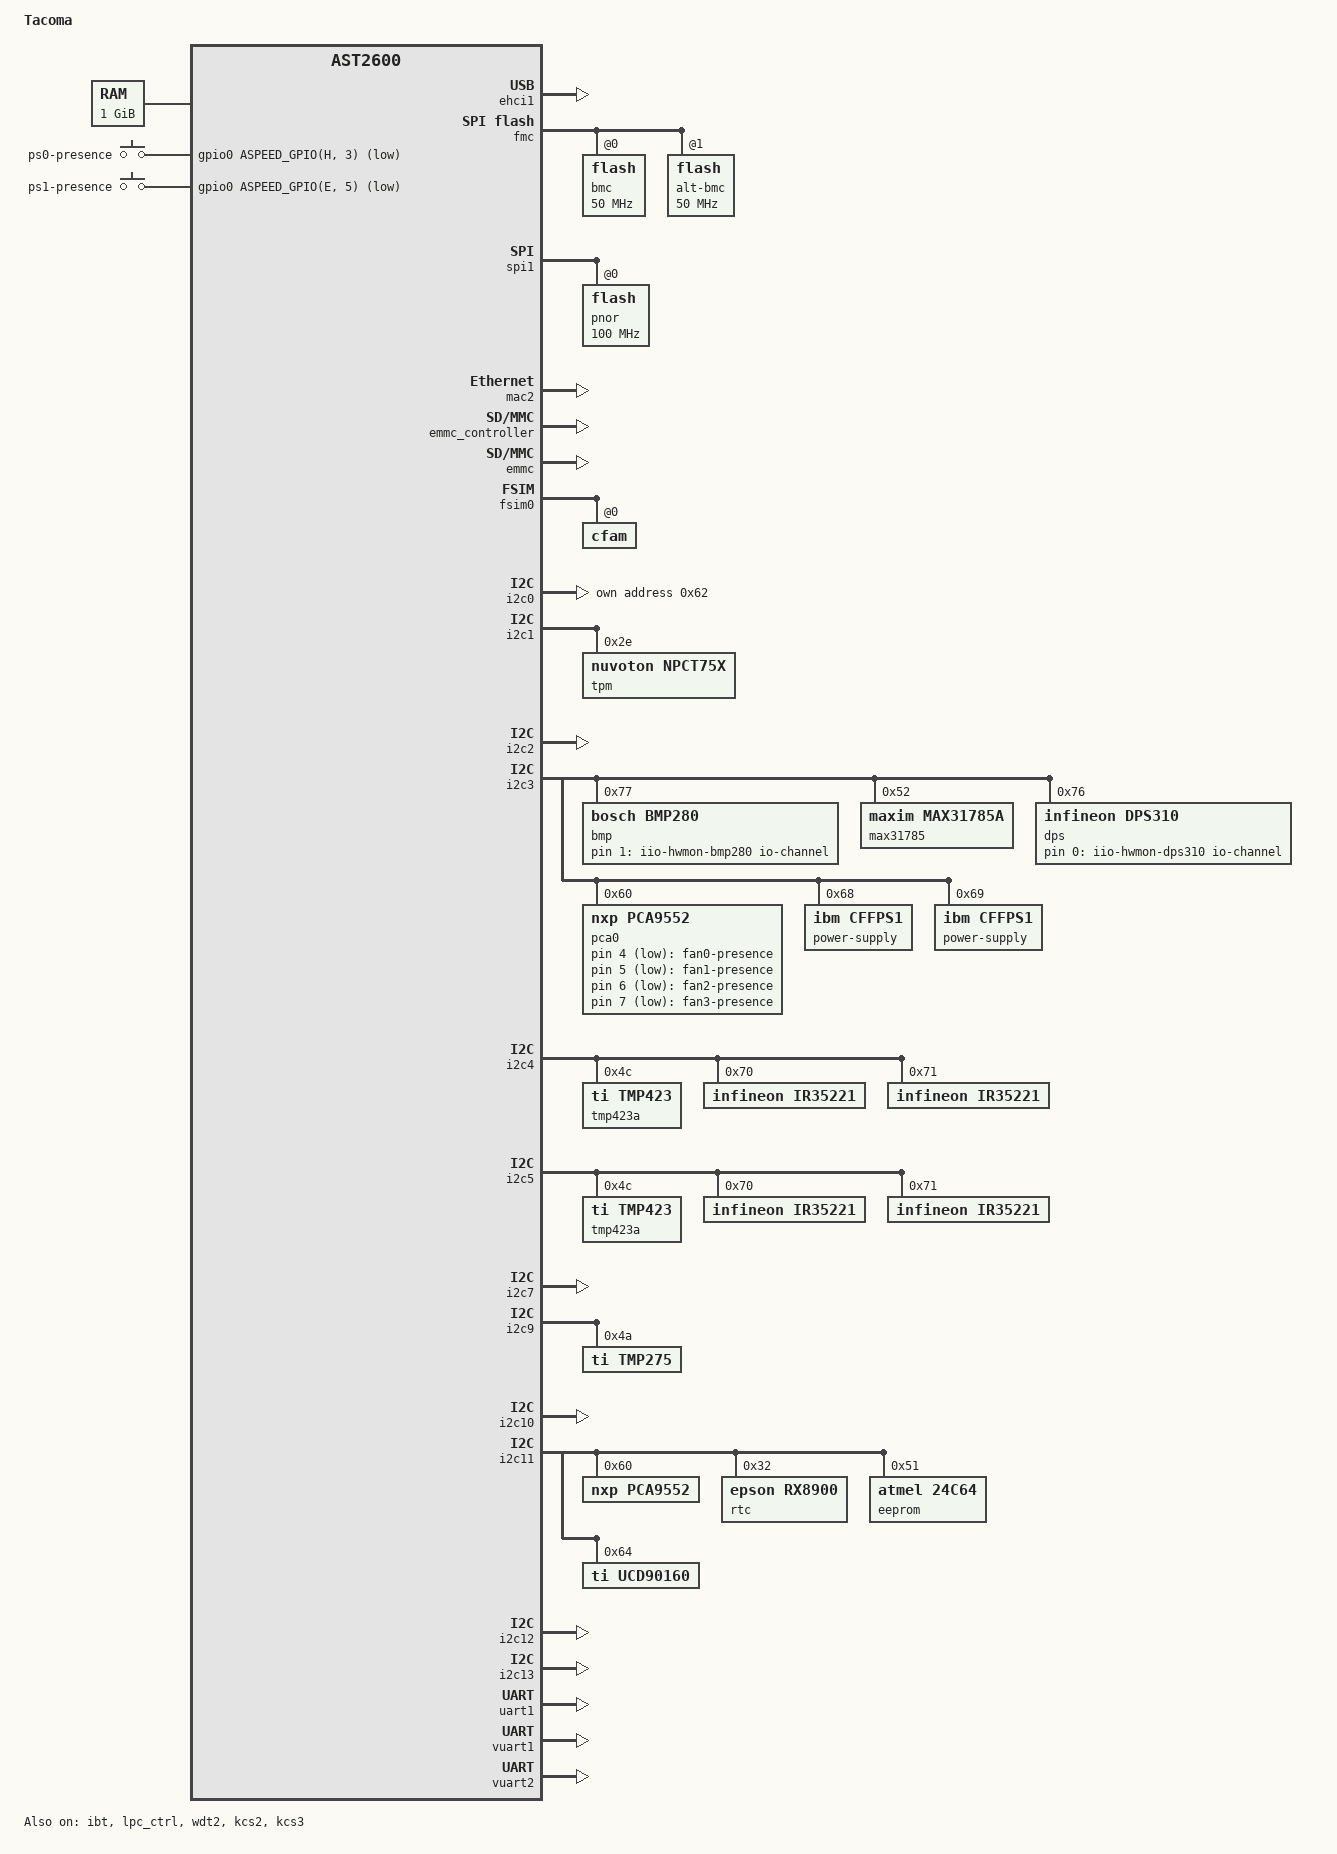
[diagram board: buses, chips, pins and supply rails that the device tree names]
// SPDX-License-Identifier: GPL-2.0-or-later
// Copyright 2019 IBM Corp.
/dts-v1/;

#include "aspeed-g6.dtsi"
#include <dt-bindings/gpio/aspeed-gpio.h>
#include <dt-bindings/i2c/i2c.h>
#include <dt-bindings/leds/leds-pca955x.h>

/ {
	model = "Tacoma";
	compatible = "ibm,tacoma-bmc", "aspeed,ast2600";

	chosen {
		stdout-path = &uart5;
		bootargs = "console=ttyS4,115200n8 earlycon";
	};

	memory@80000000 {
		device_type = "memory";
		reg = <0x80000000 0x40000000>;
	};

	reserved-memory {
		#address-cells = <1>;
		#size-cells = <1>;
		ranges;

		flash_memory: region@b8000000 {
			no-map;
			reg = <0xb8000000 0x4000000>; /* 64M */
		};

		ramoops@bc000000 {
			compatible = "ramoops";
			reg = <0xbc000000 0x180000>; /* 16 * (3 * 0x8000) */
			record-size = <0x8000>;
			console-size = <0x8000>;
			pmsg-size = <0x8000>;
			max-reason = <3>; /* KMSG_DUMP_EMERG */
		};

		vga_memory: region@bf000000 {
			no-map;
			compatible = "shared-dma-pool";
			reg = <0xbf000000 0x01000000>;	/* 16M */
		};
	};

	gpio-keys {
		compatible = "gpio-keys";

		event-ps0-presence {
			label = "ps0-presence";
			gpios = <&gpio0 ASPEED_GPIO(H, 3) GPIO_ACTIVE_LOW>;
			linux,code = <ASPEED_GPIO(H, 3)>;
		};

		event-ps1-presence {
			label = "ps1-presence";
			gpios = <&gpio0 ASPEED_GPIO(E, 5) GPIO_ACTIVE_LOW>;
			linux,code = <ASPEED_GPIO(E, 5)>;
		};
	};

	gpio-keys-polled {
		compatible = "gpio-keys-polled";
		poll-interval = <1000>;

		event-fan0-presence {
			label = "fan0-presence";
			gpios = <&pca0 4 GPIO_ACTIVE_LOW>;
			linux,code = <4>;
		};

		event-fan1-presence {
			label = "fan1-presence";
			gpios = <&pca0 5 GPIO_ACTIVE_LOW>;
			linux,code = <5>;
		};

		event-fan2-presence {
			label = "fan2-presence";
			gpios = <&pca0 6 GPIO_ACTIVE_LOW>;
			linux,code = <6>;
		};

		event-fan3-presence {
			label = "fan3-presence";
			gpios = <&pca0 7 GPIO_ACTIVE_LOW>;
			linux,code = <7>;
		};
	};

	iio-hwmon-dps310 {
		compatible = "iio-hwmon";
		io-channels = <&dps 0>;
	};

	iio-hwmon-bmp280 {
		compatible = "iio-hwmon";
		io-channels = <&bmp 1>;
	};
};

&ehci1 {
	status = "okay";
};

&gpio0 {
	gpio-line-names =
	/*A0-A7*/	"","","","","","","","",
	/*B0-B7*/	"fsi-mux","","","","","","","",
	/*C0-C7*/	"","","","","","","","",
	/*D0-D7*/	"","","","","","","","",
	/*E0-E7*/	"power-button","","","checkstop","","presence-ps1","","led-rear-fault",
	/*F0-F7*/	"","","","","","","","",
	/*G0-G7*/	"","","","","","","","",
	/*H0-H7*/	"","","","presence-ps0","","","","",
	/*I0-I7*/	"","","","","","","","",
	/*J0-J7*/	"","","","","","","","",
	/*K0-K7*/	"","","","","","","","",
	/*L0-L7*/	"","","","","","","","",
	/*M0-M7*/	"","","","","","","","",
	/*N0-N7*/	"","","","","","","","",
	/*O0-O7*/	"led-rear-power","led-rear-id","","usb-power","","","","",
	/*P0-P7*/	"","","","","","bmc-tpm-reset","","",
	/*Q0-Q7*/	"cfam-reset","","","","","","","fsi-routing",
	/*R0-R7*/	"","","","","","","","",
	/*S0-S7*/	"","","","","","","","",
	/*T0-T7*/	"","","","","","","","",
	/*U0-U7*/	"","","","","","","","",
	/*V0-V7*/	"","","","","","","","",
	/*W0-W7*/	"","","","","","","","",
	/*X0-X7*/	"","","","","","","","",
	/*Y0-Y7*/	"","","","","","","","",
	/*Z0-Z7*/	"","","","","","","","";
};

&fmc {
	status = "okay";
	flash@0 {
		status = "okay";
		m25p,fast-read;
		label = "bmc";
		spi-max-frequency = <50000000>;
#include "openbmc-flash-layout-128.dtsi"
	};

	flash@1 {
		status = "okay";
		m25p,fast-read;
		label = "alt-bmc";
		spi-max-frequency = <50000000>;
	};
};

&spi1 {
	status = "okay";
	pinctrl-names = "default";
	pinctrl-0 = <&pinctrl_spi1_default>;

	flash@0 {
		status = "okay";
		m25p,fast-read;
		label = "pnor";
		spi-max-frequency = <100000000>;
	};
};

&mac2 {
	status = "okay";
	pinctrl-names = "default";
	pinctrl-0 = <&pinctrl_rmii3_default>;
	clocks = <&syscon ASPEED_CLK_GATE_MAC3CLK>,
		 <&syscon ASPEED_CLK_MAC3RCLK>;
	clock-names = "MACCLK", "RCLK";
	use-ncsi;
};

&emmc_controller {
	status = "okay";
};

&emmc {
	status = "okay";
	clk-phase-mmc-hs200 = <36>, <270>;
};

&fsim0 {
	status = "okay";

	#address-cells = <2>;
	#size-cells = <0>;

	fsi-routing-gpios = <&gpio0 ASPEED_GPIO(Q, 7) GPIO_ACTIVE_HIGH>;
	fsi-mux-gpios = <&gpio0 ASPEED_GPIO(B, 0) GPIO_ACTIVE_HIGH>;

	cfam@0,0 {
		reg = <0 0>;
		#address-cells = <1>;
		#size-cells = <1>;
		chip-id = <0>;

		scom@1000 {
			compatible = "ibm,fsi2pib";
			reg = <0x1000 0x400>;
		};

		i2c@1800 {
			compatible = "ibm,fsi-i2c-master";
			reg = <0x1800 0x400>;
			#address-cells = <1>;
			#size-cells = <0>;

			cfam0_i2c0: i2c-bus@0 {
				reg = <0>;
			};

			cfam0_i2c1: i2c-bus@1 {
				reg = <1>;
			};

			cfam0_i2c2: i2c-bus@2 {
				reg = <2>;
			};

			cfam0_i2c3: i2c-bus@3 {
				reg = <3>;
			};

			cfam0_i2c4: i2c-bus@4 {
				reg = <4>;
			};

			cfam0_i2c5: i2c-bus@5 {
				reg = <5>;
			};

			cfam0_i2c6: i2c-bus@6 {
				reg = <6>;
			};

			cfam0_i2c7: i2c-bus@7 {
				reg = <7>;
			};

			cfam0_i2c8: i2c-bus@8 {
				reg = <8>;
			};

			cfam0_i2c9: i2c-bus@9 {
				reg = <9>;
			};

			cfam0_i2c10: i2c-bus@a {
				reg = <10>;
			};

			cfam0_i2c11: i2c-bus@b {
				reg = <11>;
			};

			cfam0_i2c12: i2c-bus@c {
				reg = <12>;
			};

			cfam0_i2c13: i2c-bus@d {
				reg = <13>;
			};

			cfam0_i2c14: i2c-bus@e {
				reg = <14>;
			};
		};

		sbefifo@2400 {
			compatible = "ibm,p9-sbefifo";
			reg = <0x2400 0x400>;
			#address-cells = <1>;
			#size-cells = <0>;

			fsi_occ0: occ {
				compatible = "ibm,p9-occ";
			};
		};

		fsi_hub0: hub@3400 {
			compatible = "fsi-master-hub";
			reg = <0x3400 0x400>;
			#address-cells = <2>;
			#size-cells = <0>;

			no-scan-on-init;
		};
	};
};

&fsi_hub0 {
	cfam@1,0 {
		reg = <1 0>;
		#address-cells = <1>;
		#size-cells = <1>;
		chip-id = <1>;

		scom@1000 {
			compatible = "ibm,fsi2pib";
			reg = <0x1000 0x400>;
		};

		i2c@1800 {
			compatible = "ibm,fsi-i2c-master";
			reg = <0x1800 0x400>;
			#address-cells = <1>;
			#size-cells = <0>;

			cfam1_i2c0: i2c-bus@0 {
				reg = <0>;
			};

			cfam1_i2c1: i2c-bus@1 {
				reg = <1>;
			};

			cfam1_i2c2: i2c-bus@2 {
				reg = <2>;
			};

			cfam1_i2c3: i2c-bus@3 {
				reg = <3>;
			};

			cfam1_i2c4: i2c-bus@4 {
				reg = <4>;
			};

			cfam1_i2c5: i2c-bus@5 {
				reg = <5>;
			};

			cfam1_i2c6: i2c-bus@6 {
				reg = <6>;
			};

			cfam1_i2c7: i2c-bus@7 {
				reg = <7>;
			};

			cfam1_i2c8: i2c-bus@8 {
				reg = <8>;
			};

			cfam1_i2c9: i2c-bus@9 {
				reg = <9>;
			};

			cfam1_i2c10: i2c-bus@a {
				reg = <10>;
			};

			cfam1_i2c11: i2c-bus@b {
				reg = <11>;
			};

			cfam1_i2c12: i2c-bus@c {
				reg = <12>;
			};

			cfam1_i2c13: i2c-bus@d {
				reg = <13>;
			};

			cfam1_i2c14: i2c-bus@e {
				reg = <14>;
			};
		};

		sbefifo@2400 {
			compatible = "ibm,p9-sbefifo";
			reg = <0x2400 0x400>;
			#address-cells = <1>;
			#size-cells = <0>;

			fsi_occ1: occ {
				compatible = "ibm,p9-occ";
			};
		};

		fsi_hub1: hub@3400 {
			compatible = "fsi-master-hub";
			reg = <0x3400 0x400>;
			#address-cells = <2>;
			#size-cells = <0>;

			no-scan-on-init;
		};
	};
};

/* Legacy OCC numbering (to get rid of when userspace is fixed) */
&fsi_occ0 {
	reg = <1>;
};

&fsi_occ1 {
	reg = <2>;
};

/ {
	aliases {
		i2c100 = &cfam0_i2c0;
		i2c101 = &cfam0_i2c1;
		i2c102 = &cfam0_i2c2;
		i2c103 = &cfam0_i2c3;
		i2c104 = &cfam0_i2c4;
		i2c105 = &cfam0_i2c5;
		i2c106 = &cfam0_i2c6;
		i2c107 = &cfam0_i2c7;
		i2c108 = &cfam0_i2c8;
		i2c109 = &cfam0_i2c9;
		i2c110 = &cfam0_i2c10;
		i2c111 = &cfam0_i2c11;
		i2c112 = &cfam0_i2c12;
		i2c113 = &cfam0_i2c13;
		i2c114 = &cfam0_i2c14;
		i2c200 = &cfam1_i2c0;
		i2c201 = &cfam1_i2c1;
		i2c202 = &cfam1_i2c2;
		i2c203 = &cfam1_i2c3;
		i2c204 = &cfam1_i2c4;
		i2c205 = &cfam1_i2c5;
		i2c206 = &cfam1_i2c6;
		i2c207 = &cfam1_i2c7;
		i2c208 = &cfam1_i2c8;
		i2c209 = &cfam1_i2c9;
		i2c210 = &cfam1_i2c10;
		i2c211 = &cfam1_i2c11;
		i2c212 = &cfam1_i2c12;
		i2c213 = &cfam1_i2c13;
		i2c214 = &cfam1_i2c14;
	};

};

&i2c0 {
	multi-master;
	status = "okay";

	ibm-panel@62 {
		compatible = "ibm,op-panel";
		reg = <(0x62 | I2C_OWN_SLAVE_ADDRESS)>;
	};
};

&i2c1 {
	status = "okay";

	tpm: tpm@2e {
		compatible = "nuvoton,npct75x", "tcg,tpm-tis-i2c";
		reg = <0x2e>;
	};
};

&i2c2 {
	status = "okay";
};

&i2c3 {
	status = "okay";

	bmp: bmp280@77 {
		compatible = "bosch,bmp280";
		reg = <0x77>;
		#io-channel-cells = <1>;
	};

	max31785@52 {
		compatible = "maxim,max31785a";
		reg = <0x52>;
		#address-cells = <1>;
		#size-cells = <0>;

		fan@0 {
			compatible = "pmbus-fan";
			reg = <0>;
			tach-pulses = <2>;
			maxim,fan-rotor-input = "tach";
			maxim,fan-pwm-freq = <25000>;
			maxim,fan-dual-tach;
			maxim,fan-no-watchdog;
			maxim,fan-no-fault-ramp;
			maxim,fan-ramp = <2>;
			maxim,fan-fault-pin-mon;
		};

		fan@1 {
			compatible = "pmbus-fan";
			reg = <1>;
			tach-pulses = <2>;
			maxim,fan-rotor-input = "tach";
			maxim,fan-pwm-freq = <25000>;
			maxim,fan-dual-tach;
			maxim,fan-no-watchdog;
			maxim,fan-no-fault-ramp;
			maxim,fan-ramp = <2>;
			maxim,fan-fault-pin-mon;
		};

		fan@2 {
			compatible = "pmbus-fan";
			reg = <2>;
			tach-pulses = <2>;
			maxim,fan-rotor-input = "tach";
			maxim,fan-pwm-freq = <25000>;
			maxim,fan-dual-tach;
			maxim,fan-no-watchdog;
			maxim,fan-no-fault-ramp;
			maxim,fan-ramp = <2>;
			maxim,fan-fault-pin-mon;
		};

		fan@3 {
			compatible = "pmbus-fan";
			reg = <3>;
			tach-pulses = <2>;
			maxim,fan-rotor-input = "tach";
			maxim,fan-pwm-freq = <25000>;
			maxim,fan-dual-tach;
			maxim,fan-no-watchdog;
			maxim,fan-no-fault-ramp;
			maxim,fan-ramp = <2>;
			maxim,fan-fault-pin-mon;
		};
	};

	dps: dps310@76 {
		compatible = "infineon,dps310";
		reg = <0x76>;
		#io-channel-cells = <0>;
	};

	pca0: pca9552@60 {
		compatible = "nxp,pca9552";
		reg = <0x60>;
		#address-cells = <1>;
		#size-cells = <0>;

		gpio-controller;
		#gpio-cells = <2>;

		gpio@0 {
			reg = <0>;
			type = <PCA955X_TYPE_GPIO>;
		};

		gpio@1 {
			reg = <1>;
			type = <PCA955X_TYPE_GPIO>;
		};

		gpio@2 {
			reg = <2>;
			type = <PCA955X_TYPE_GPIO>;
		};

		gpio@3 {
			reg = <3>;
			type = <PCA955X_TYPE_GPIO>;
		};

		gpio@4 {
			reg = <4>;
			type = <PCA955X_TYPE_GPIO>;
		};

		gpio@5 {
			reg = <5>;
			type = <PCA955X_TYPE_GPIO>;
		};

		gpio@6 {
			reg = <6>;
			type = <PCA955X_TYPE_GPIO>;
		};

		gpio@7 {
			reg = <7>;
			type = <PCA955X_TYPE_GPIO>;
		};

		gpio@8 {
			reg = <8>;
			type = <PCA955X_TYPE_GPIO>;
		};

		gpio@9 {
			reg = <9>;
			type = <PCA955X_TYPE_GPIO>;
		};

		gpio@10 {
			reg = <10>;
			type = <PCA955X_TYPE_GPIO>;
		};

		gpio@11 {
			reg = <11>;
			type = <PCA955X_TYPE_GPIO>;
		};

		gpio@12 {
			reg = <12>;
			type = <PCA955X_TYPE_GPIO>;
		};

		gpio@13 {
			reg = <13>;
			type = <PCA955X_TYPE_GPIO>;
		};

		gpio@14 {
			reg = <14>;
			type = <PCA955X_TYPE_GPIO>;
		};

		gpio@15 {
			reg = <15>;
			type = <PCA955X_TYPE_GPIO>;
		};
	};

	power-supply@68 {
		compatible = "ibm,cffps1";
		reg = <0x68>;
	};

	power-supply@69 {
		compatible = "ibm,cffps1";
		reg = <0x69>;
	};
};

&i2c4 {
	status = "okay";

	tmp423a@4c {
		compatible = "ti,tmp423";
		reg = <0x4c>;
	};

	ir35221@70 {
		compatible = "infineon,ir35221";
		reg = <0x70>;
	};

	ir35221@71 {
		compatible = "infineon,ir35221";
		reg = <0x71>;
	};
};

&i2c5 {
	status = "okay";

	tmp423a@4c {
		compatible = "ti,tmp423";
		reg = <0x4c>;
	};

	ir35221@70 {
		compatible = "infineon,ir35221";
		reg = <0x70>;
	};

	ir35221@71 {
		compatible = "infineon,ir35221";
		reg = <0x71>;
	};
};

&i2c7 {
	status = "okay";
};

&i2c9 {
	status = "okay";

	tmp275@4a {
		compatible = "ti,tmp275";
		reg = <0x4a>;
	};
};

&i2c10 {
	status = "okay";
};

&i2c11 {
	status = "okay";

	pca9552: pca9552@60 {
		compatible = "nxp,pca9552";
		reg = <0x60>;
		#address-cells = <1>;
		#size-cells = <0>;
		gpio-controller;
		#gpio-cells = <2>;

		gpio-line-names = "PS_SMBUS_RESET_N", "APSS_RESET_N",
			"GPU0_TH_OVERT_N_BUFF",	"GPU1_TH_OVERT_N_BUFF",
			"GPU2_TH_OVERT_N_BUFF", "GPU3_TH_OVERT_N_BUFF",
			"GPU4_TH_OVERT_N_BUFF",	"GPU5_TH_OVERT_N_BUFF",
			"GPU0_PWR_GOOD_BUFF", "GPU1_PWR_GOOD_BUFF",
			"GPU2_PWR_GOOD_BUFF", "GPU3_PWR_GOOD_BUFF",
			"GPU4_PWR_GOOD_BUFF", "GPU5_PWR_GOOD_BUFF",
			"12V_BREAKER_FLT_N", "THROTTLE_UNLATCHED_N";

		gpio@0 {
			reg = <0>;
			type = <PCA955X_TYPE_GPIO>;
		};

		gpio@1 {
			reg = <1>;
			type = <PCA955X_TYPE_GPIO>;
		};

		gpio@2 {
			reg = <2>;
			type = <PCA955X_TYPE_GPIO>;
		};

		gpio@3 {
			reg = <3>;
			type = <PCA955X_TYPE_GPIO>;
		};

		gpio@4 {
			reg = <4>;
			type = <PCA955X_TYPE_GPIO>;
		};

		gpio@5 {
			reg = <5>;
			type = <PCA955X_TYPE_GPIO>;
		};

		gpio@6 {
			reg = <6>;
			type = <PCA955X_TYPE_GPIO>;
		};

		gpio@7 {
			reg = <7>;
			type = <PCA955X_TYPE_GPIO>;
		};

		gpio@8 {
			reg = <8>;
			type = <PCA955X_TYPE_GPIO>;
		};

		gpio@9 {
			reg = <9>;
			type = <PCA955X_TYPE_GPIO>;
		};

		gpio@10 {
			reg = <10>;
			type = <PCA955X_TYPE_GPIO>;
		};

		gpio@11 {
			reg = <11>;
			type = <PCA955X_TYPE_GPIO>;
		};

		gpio@12 {
			reg = <12>;
			type = <PCA955X_TYPE_GPIO>;
		};

		gpio@13 {
			reg = <13>;
			type = <PCA955X_TYPE_GPIO>;
		};

		gpio@14 {
			reg = <14>;
			type = <PCA955X_TYPE_GPIO>;
		};

		gpio@15 {
			reg = <15>;
			type = <PCA955X_TYPE_GPIO>;
		};
	};

	rtc@32 {
		compatible = "epson,rx8900";
		reg = <0x32>;
	};

	eeprom@51 {
		compatible = "atmel,24c64";
		reg = <0x51>;
	};

	ucd90160@64 {
		compatible = "ti,ucd90160";
		reg = <0x64>;
	};
};

&i2c12 {
	status = "okay";
};

&i2c13 {
	status = "okay";
};

&ibt {
	status = "okay";
};

&uart1 {
	status = "okay";
	// Workaround for A0
	compatible = "snps,dw-apb-uart";
};

&uart5 {
	// Workaround for A0
	compatible = "snps,dw-apb-uart";
};

&vuart1 {
	status = "okay";
};

&vuart2 {
	status = "okay";
};

&lpc_ctrl {
	status = "okay";
	memory-region = <&flash_memory>;
	flash = <&spi1>;
};

&wdt1 {
	aspeed,reset-type = "none";
	aspeed,external-signal;
	aspeed,ext-push-pull;
	aspeed,ext-active-high;

	pinctrl-names = "default";
	pinctrl-0 = <&pinctrl_wdtrst1_default>;
};

&wdt2 {
	status = "okay";
};

&pinctrl {
	/* Hog these as no driver is probed for the entire LPC block */
	pinctrl-names = "default";
	pinctrl-0 = <&pinctrl_lpc_default>,
		    <&pinctrl_lsirq_default>;
};

&kcs2 {
	status = "okay";
	aspeed,lpc-io-reg = <0xca8 0xcac>;
};

&kcs3 {
	status = "okay";
	aspeed,lpc-io-reg = <0xca2>;
	aspeed,lpc-interrupts = <11 IRQ_TYPE_LEVEL_LOW>;
};
